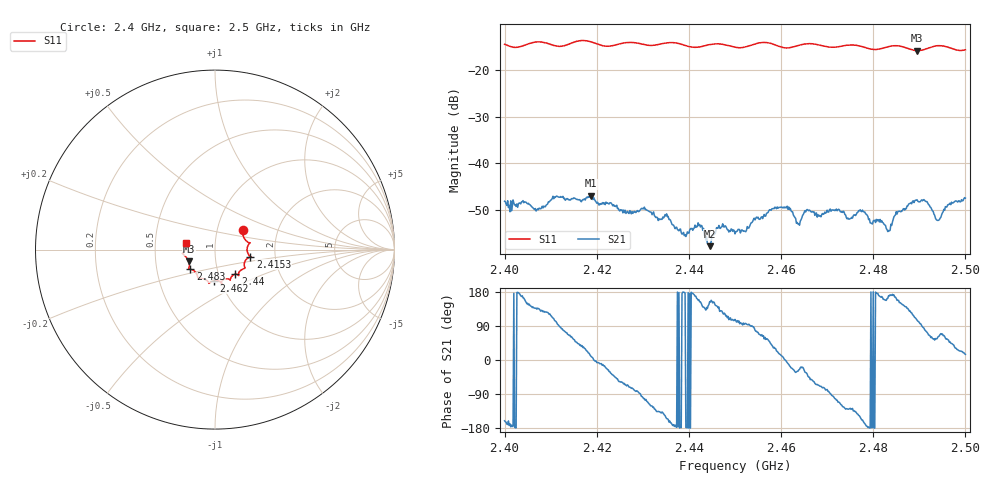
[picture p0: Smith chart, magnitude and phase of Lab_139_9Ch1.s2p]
# Hz S RI R 50
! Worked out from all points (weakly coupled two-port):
!   601 points, 2.4 GHz to 2.5 GHz, reference 50 ohm
!   highest |S21| = -46.89 dB at 2.4187 GHz (marker M1); lowest = -57.7 dB at 2.4445 GHz (marker M2)
!   lowest |S11| = -15.9 dB at 2.4895 GHz (marker M3), VSWR 1.38, Z = 36.9 - j4.99 ohm
!   |S11| at or under -10 dB: start of sweep to end of sweep
!   S12 and S22 are empty: the file has one direction only
!   S11 on the Smith chart (normalised r, x): 2.4 GHz: 1.33, +0.29; 2.4153 GHz: 1.48, -0.12; 2.44 GHz: 1.20, -0.34; 2.462 GHz: 0.93, -0.33; 2.483 GHz: 0.74, -0.17; 2.5 GHz: 0.72, +0.06
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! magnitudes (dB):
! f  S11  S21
! 2.4 GHz  -14.5  -48.1
! 2.4068 GHz  -14.0  -50.2
! 2.4153 GHz  -14.0  -47.5
! 2.4167 GHz  -13.7  -48.2
! 2.4187 GHz  -14.0  -46.9
! 2.4333 GHz  -14.6  -52.2
! 2.44 GHz  -15.0  -54.9
! 2.4423 GHz  -15.1  -53.0
! 2.4445 GHz  -14.6  -57.7
! 2.4468 GHz  -14.5  -53.9
! 2.45 GHz  -15.1  -55.1
! 2.4583 GHz  -14.5  -49.6
! 2.462 GHz  -15.2  -49.6
! 2.4638 GHz  -14.7  -52.9
! 2.4667 GHz  -14.4  -50.4
! 2.4777 GHz  -15.0  -50.0
! 2.483 GHz  -15.1  -54.2
! 2.4833 GHz  -15.0  -54.3
! 2.4852 GHz  -14.8  -50.8
! 2.4895 GHz  -15.9  -47.7
! 2.494 GHz  -14.8  -52.2
! 2.5 GHz  -15.7  -47.4
